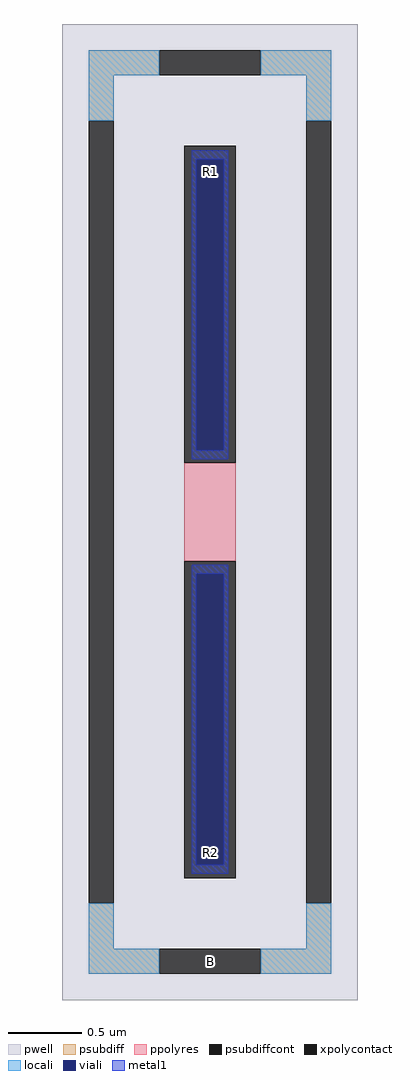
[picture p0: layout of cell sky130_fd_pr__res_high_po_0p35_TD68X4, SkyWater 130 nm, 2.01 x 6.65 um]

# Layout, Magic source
magic
tech sky130A
magscale 1 2
<< pwell >>
rect -201 -665 201 665
<< psubdiff >>
rect -165 595 -69 629
rect 69 595 165 629
rect -165 533 -131 595
rect 131 533 165 595
rect -165 -595 -131 -533
rect 131 -595 165 -533
rect -165 -629 -69 -595
rect 69 -629 165 -595
<< psubdiffcont >>
rect -69 595 69 629
rect -165 -533 -131 533
rect 131 -533 165 533
rect -69 -629 69 -595
<< xpolycontact >>
rect -35 67 35 499
rect -35 -499 35 -67
<< ppolyres >>
rect -35 -67 35 67
<< locali >>
rect -165 595 -69 629
rect 69 595 165 629
rect -165 533 -131 595
rect 131 533 165 595
rect -165 -595 -131 -533
rect 131 -595 165 -533
rect -165 -629 -69 -595
rect 69 -629 165 -595
<< viali >>
rect -19 84 19 481
rect -19 -481 19 -84
<< metal1 >>
rect -25 481 25 493
rect -25 84 -19 481
rect 19 84 25 481
rect -25 72 25 84
rect -25 -84 25 -72
rect -25 -481 -19 -84
rect 19 -481 25 -84
rect -25 -493 25 -481
<< labels >>
rlabel psubdiffcont 0 -612 0 -612 0 B
port 1 nsew
rlabel xpolycontact 0 464 0 464 0 R1
port 2 nsew
rlabel xpolycontact 0 -464 0 -464 0 R2
port 3 nsew
<< properties >>
string FIXED_BBOX -148 -612 148 612
string gencell sky130_fd_pr__res_high_po_0p35
string library sky130
string parameters w 0.35 l 0.826 m 1 nx 1 wmin 0.350 lmin 0.50 class resistor rho 319.8 val 754.9 dummy 0 dw 0.0 term 194.82 sterm 0.0 caplen 0 guard 1 glc 1 grc 1 gtc 1 gbc 1 compatible {sky130_fd_pr__res_high_po_0p35 sky130_fd_pr__res_high_po_0p69 sky130_fd_pr__res_high_po_1p41 sky130_fd_pr__res_high_po_2p85 sky130_fd_pr__res_high_po_5p73} snake 0 full_metal 1 wmax 0.350 vias 1 n_guard 0 hv_guard 0 viagb 0 viagt 0 viagl 0 viagr 0 doports 1
<< end >>
